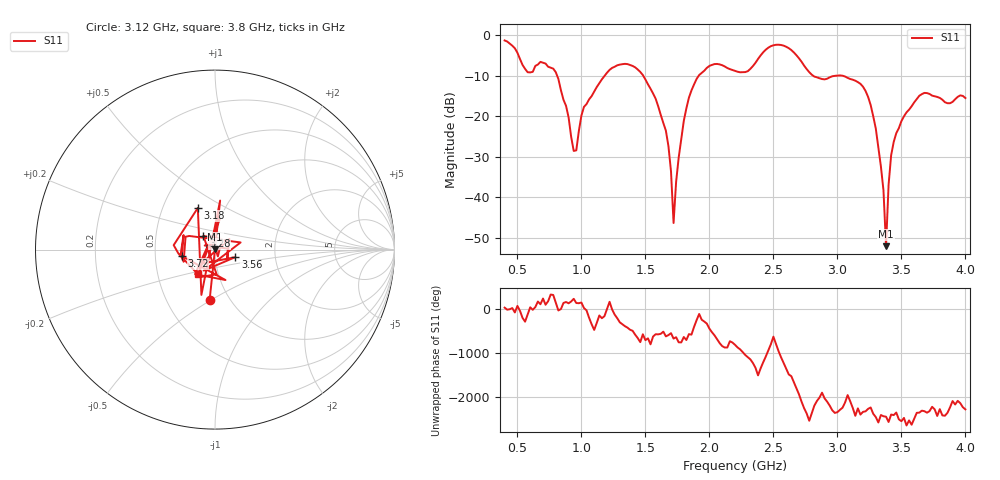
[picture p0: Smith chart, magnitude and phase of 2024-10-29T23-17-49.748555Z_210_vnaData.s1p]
!Created with skrf (http://scikit-rf.org).
# Hz S RI R 50.0
!freq ReS11 ImS11
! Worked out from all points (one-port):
!   181 points, 400 MHz to 4 GHz, reference 50 ohm
!   lowest |S11| = -52.1 dB at 3.38 GHz (marker M1), VSWR 1.00, Z = 50.1 + j0.224 ohm
!   |S11| at or under -10 dB: 810.5 MHz to 1.182 GHz (371.8 MHz wide, 37.3 % of centre); 1.483 GHz to 1.916 GHz (433.4 MHz wide, 25.5 % of centre); 3.041 GHz to end of sweep (the widest 3 of 4)
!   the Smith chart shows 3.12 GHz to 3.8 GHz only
!   S11 on the Smith chart (normalised r, x): 3.12 GHz: 0.81, -0.49; 3.18 GHz: 0.75, +0.37; 3.28 GHz: 0.87, +0.13; 3.56 GHz: 1.25, -0.11; 3.72 GHz: 0.69, -0.05; 3.8 GHz: 0.80, -0.23
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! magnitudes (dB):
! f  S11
! 400 MHz  -1.3
! 580 MHz  -9.1
! 780 MHz  -8.2
! 860 MHz  -15.9
! 960 MHz  -28.4
! 1.02 GHz  -17.7
! 1.3 GHz  -7.3
! 1.58 GHz  -15.7
! 1.68 GHz  -27.4
! 1.72 GHz  -46.4
! 1.76 GHz  -30.2
! 1.82 GHz  -18.1
! 1.9 GHz  -10.8
! 2.2 GHz  -8.8
! 2.66 GHz  -4.3
! 2.82 GHz  -10.2
! 3.1 GHz  -10.8
! 3.12 GHz  -11.0
! 3.18 GHz  -12.0
! 3.28 GHz  -20.0
! 3.36 GHz  -38.3
! 3.38 GHz  -52.1
! 3.4 GHz  -36.9
! 3.42 GHz  -29.6
! 3.56 GHz  -18.4
! 3.72 GHz  -14.5
! 3.8 GHz  -15.5
! 4 GHz  -15.5
